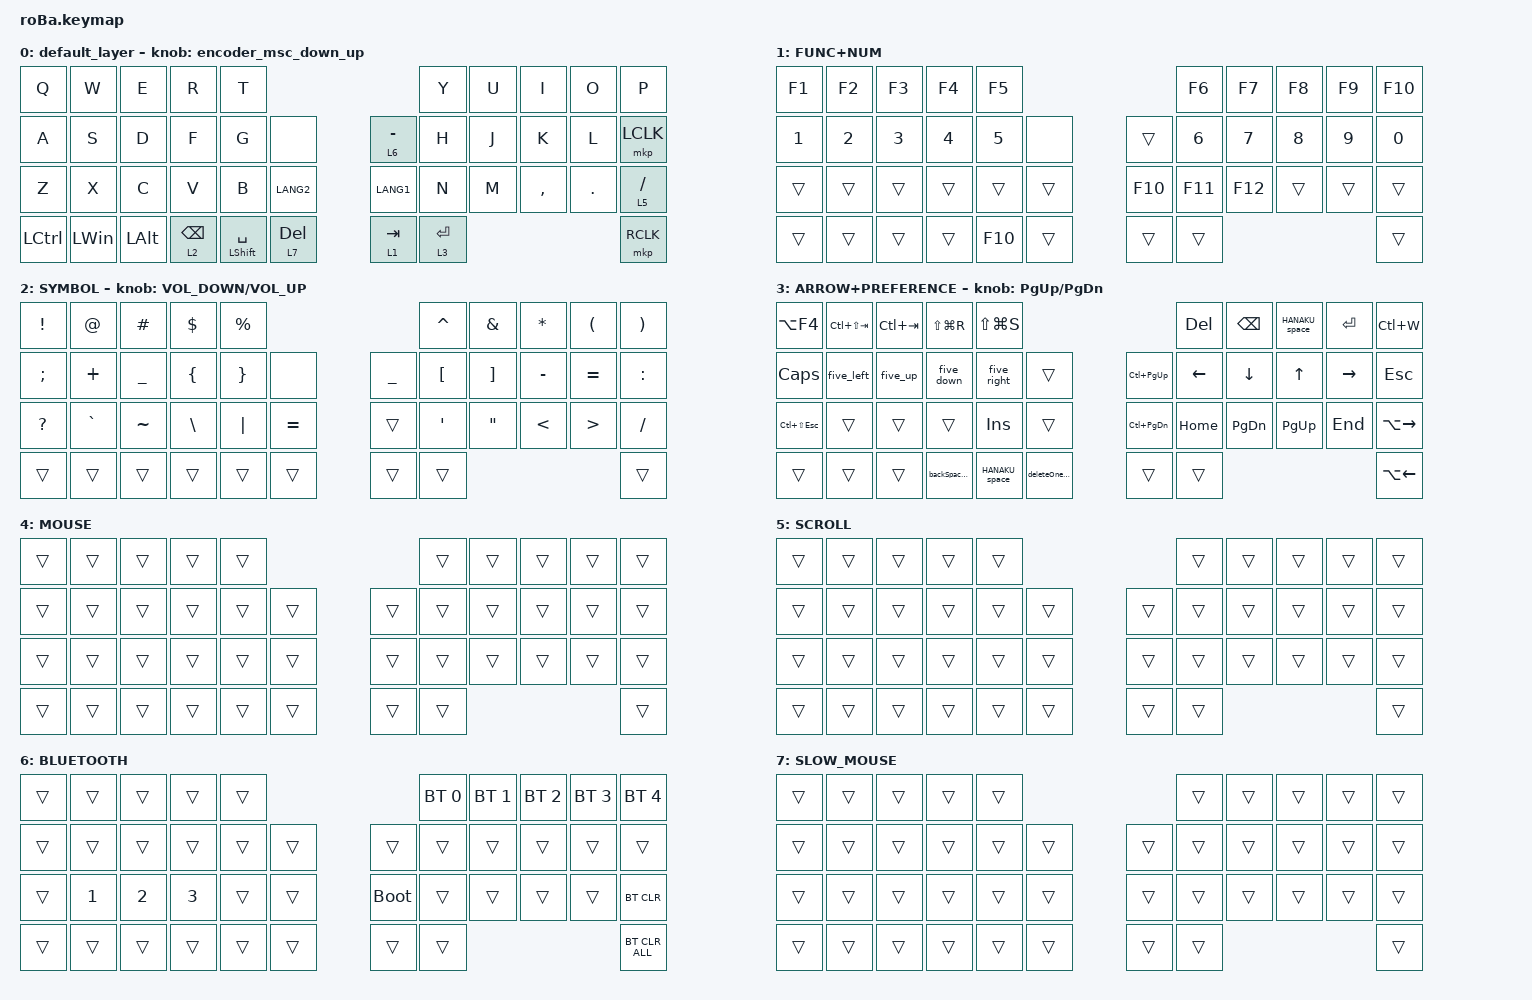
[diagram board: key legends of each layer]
#include <behaviors.dtsi>
#include <dt-bindings/zmk/bt.h>
#include <dt-bindings/zmk/keys.h>
#include <dt-bindings/zmk/pointing.h>

#define MOUSE 4
#define SCROLL 5
#define NUM 6
#define ZMK_POINTING_DEFAULT_SCRL_VAL 80

&mt {
    flavor = "balanced";
    quick-tap-ms = <0>;
};

/ {
    combos {
        compatible = "zmk,combos";

        tab {
            bindings = <&kp TAB>;
            key-positions = <0 1>;
        };

        shift {
            bindings = <&kp LEFT_SHIFT>;
            key-positions = <22 23>;
        };

        MCK {
            bindings = <&mkp MCLK>;
            key-positions = <32 33>;
        };
    };

    macros {
        to_layer_0: to_layer_0 {
            compatible = "zmk,behavior-macro-one-param";
            #binding-cells = <1>;
            bindings = <&to 0 &macro_param_1to1 &kp MACRO_PLACEHOLDER>;
            label = "TO_LAYER_0";
        };

        five_right: five_right {
            compatible = "zmk,behavior-macro";
            #binding-cells = <0>;
            bindings = <&kp RIGHT &kp RIGHT &kp RIGHT &kp RIGHT &kp RIGHT>;
            label = "FIVE_RIGHT";
        };

        five_up: five_up {
            compatible = "zmk,behavior-macro";
            #binding-cells = <0>;
            bindings = <&kp UP_ARROW &kp UP_ARROW &kp UP_ARROW &kp UP_ARROW &kp UP_ARROW>;
            label = "FIVE_UP";
        };

        five_down: five_down {
            compatible = "zmk,behavior-macro";
            #binding-cells = <0>;
            bindings = <&kp DOWN_ARROW &kp DOWN_ARROW &kp DOWN_ARROW &kp DOWN_ARROW &kp DOWN_ARROW>;
            label = "FIVE_DOWN";
        };

        five_left: five_left {
            compatible = "zmk,behavior-macro";
            #binding-cells = <0>;
            bindings = <&kp LEFT_ARROW &kp LEFT_ARROW &kp LEFT_ARROW &kp LEFT_ARROW &kp LEFT_ARROW>;
            label = "FIVE_LEFT";
        };

        backSpaceOneWord: backSpaceOneWord {
            compatible = "zmk,behavior-macro";
            #binding-cells = <0>;
            bindings = <&kp LS(LC(LEFT_ARROW)) &kp BACKSPACE>;
            label = "BACKSPACEONEWORD";
        };

        deleteOneWord: deleteOneWord {
            compatible = "zmk,behavior-macro";
            #binding-cells = <0>;
            bindings = <&kp LS(LC(RIGHT_ARROW)) &kp DELETE>;
            label = "DELETEONEWORD";
        };

        HANAKU_space: HANAKU_space {
            compatible = "zmk,behavior-macro";
            #binding-cells = <0>;
            bindings = <&kp LANGUAGE_2 &kp SPACE &kp LANGUAGE_1>;
            label = "HANAKU_SPACE";
        };
    };

    behaviors {
        lt_to_layer_0: lt_to_layer_0 {
            compatible = "zmk,behavior-hold-tap";
            label = "LAYER_TAP_TO_0";
            bindings = <&mo>, <&to_layer_0>;

            #binding-cells = <2>;
            tapping-term-ms = <200>;
        };

        encoder_msc_down_up: encoder_msc_down_up {
            compatible = "zmk,behavior-sensor-rotate";
            label = "ENCODER_MSC_DOWN_UP";
            #sensor-binding-cells = <0>;
            bindings = <&msc SCRL_DOWN>, <&msc SCRL_UP>;

            tap-ms = <20>;
        };
    };

    keymap {
        compatible = "zmk,keymap";

        default_layer {
            bindings = <
&kp Q      &kp W         &kp E         &kp R                       &kp T                                                                      &kp Y                   &kp U  &kp I      &kp O    &kp P
&kp A      &kp S         &kp D         &kp F                       &kp G                 &none                        &lt_to_layer_0 6 MINUS  &kp H                   &kp J  &kp K      &kp L    &mkp LCLK
&kp Z      &kp X         &kp C         &kp V                       &kp B                 &kp LANG2                    &kp LANG1               &kp N                   &kp M  &kp COMMA  &kp DOT  &lt 5 SLASH
&kp LCTRL  &kp LEFT_WIN  &kp LEFT_ALT  &lt_to_layer_0 2 BACKSPACE  &mt LEFT_SHIFT SPACE  &lt_to_layer_0 7 DELETE      &lt_to_layer_0 1 TAB    &lt_to_layer_0 3 ENTER                             &mkp RCLK
            >;

            sensor-bindings = <&encoder_msc_down_up>;
        };

        FUNC+NUM {
            bindings = <
&kp F1        &kp F2        &kp F3        &kp F4        &kp F5                        &kp F6        &kp F7   &kp F8  &kp F9  &kp F10
&kp NUMBER_1  &kp NUMBER_2  &kp NUMBER_3  &kp NUMBER_4  &kp N5   &none       &trans   &kp NUMBER_6  &kp N7   &kp N8  &kp N9  &kp N0
&trans        &trans        &trans        &trans        &trans   &trans      &kp F10  &kp F11       &kp F12  &trans  &trans  &trans
&trans        &trans        &trans        &trans        &kp F10  &trans      &trans   &trans                                 &trans
            >;
        };

        SYMBOL {
            bindings = <
&kp EXCLAMATION  &kp AT_SIGN  &kp HASH        &kp DOLLAR      &kp PERCENT                                     &kp CARET         &kp AMPERSAND      &kp ASTERISK   &kp LEFT_PARENTHESIS  &kp RIGHT_PARENTHESIS
&kp SEMICOLON    &kp PLUS     &kp UNDERSCORE  &kp LEFT_BRACE  &kp RIGHT_BRACE  &none          &kp UNDERSCORE  &kp LEFT_BRACKET  &kp RIGHT_BRACKET  &kp MINUS      &kp EQUAL             &kp COLON
&kp QUESTION     &kp GRAVE    &kp TILDE       &kp BACKSLASH   &kp PIPE         &kp EQUAL      &trans          &kp SQT           &kp DOUBLE_QUOTES  &kp LESS_THAN  &kp GREATER_THAN      &kp SLASH
&trans           &trans       &trans          &trans          &trans           &trans         &trans          &trans                                                                    &trans
            >;

            sensor-bindings = <&inc_dec_kp C_VOLUME_DOWN C_VOLUME_UP>;
        };

        ARROW+PREFERENCE {
            bindings = <
&kp LA(F4)          &kp LC(LS(TAB))  &kp LC(TAB)  &kp LS(LG(R))      &kp LS(LG(S))                                         &kp DELETE  &kp BACKSPACE   &HANAKU_space  &kp ENTER  &kp LC(W)
&kp CAPSLOCK        &five_left       &five_up     &five_down         &five_right    &trans              &kp LC(PAGE_UP)    &kp LEFT    &kp DOWN_ARROW  &kp UP_ARROW   &kp RIGHT  &kp ESCAPE
&kp LC(LS(ESCAPE))  &trans           &trans       &trans             &kp INSERT     &trans              &kp LC(PAGE_DOWN)  &kp HOME    &kp PAGE_DOWN   &kp PAGE_UP    &kp END    &kp LA(RIGHT)
&trans              &trans           &trans       &backSpaceOneWord  &HANAKU_space  &deleteOneWord      &trans             &trans                                                &kp LA(LEFT_ARROW)
            >;

            sensor-bindings = <&inc_dec_kp PG_UP PG_DN>;
        };

        MOUSE {
            bindings = <
&trans  &trans  &trans  &trans  &trans                      &trans  &trans  &trans  &trans  &trans
&trans  &trans  &trans  &trans  &trans  &trans      &trans  &trans  &trans  &trans  &trans  &trans
&trans  &trans  &trans  &trans  &trans  &trans      &trans  &trans  &trans  &trans  &trans  &trans
&trans  &trans  &trans  &trans  &trans  &trans      &trans  &trans                          &trans
            >;
        };

        SCROLL {
            bindings = <
&trans  &trans  &trans  &trans  &trans                      &trans  &trans  &trans  &trans  &trans
&trans  &trans  &trans  &trans  &trans  &trans      &trans  &trans  &trans  &trans  &trans  &trans
&trans  &trans  &trans  &trans  &trans  &trans      &trans  &trans  &trans  &trans  &trans  &trans
&trans  &trans  &trans  &trans  &trans  &trans      &trans  &trans                          &trans
            >;
        };

        BLUETOOTH {
            bindings = <
&trans  &trans        &trans        &trans        &trans                           &bt BT_SEL 0  &bt BT_SEL 1  &bt BT_SEL 2  &bt BT_SEL 3  &bt BT_SEL 4
&trans  &trans        &trans        &trans        &trans  &trans      &trans       &trans        &trans        &trans        &trans        &trans
&trans  &kp NUMBER_1  &kp NUMBER_2  &kp NUMBER_3  &trans  &trans      &bootloader  &trans        &trans        &trans        &trans        &bt BT_CLR
&trans  &trans        &trans        &trans        &trans  &trans      &trans       &trans                                                  &bt BT_CLR_ALL
            >;
        };

        SLOW_MOUSE {
            bindings = <
&trans  &trans  &trans  &trans  &trans                      &trans  &trans  &trans  &trans  &trans
&trans  &trans  &trans  &trans  &trans  &trans      &trans  &trans  &trans  &trans  &trans  &trans
&trans  &trans  &trans  &trans  &trans  &trans      &trans  &trans  &trans  &trans  &trans  &trans
&trans  &trans  &trans  &trans  &trans  &trans      &trans  &trans                          &trans
            >;
        };
    };
};
